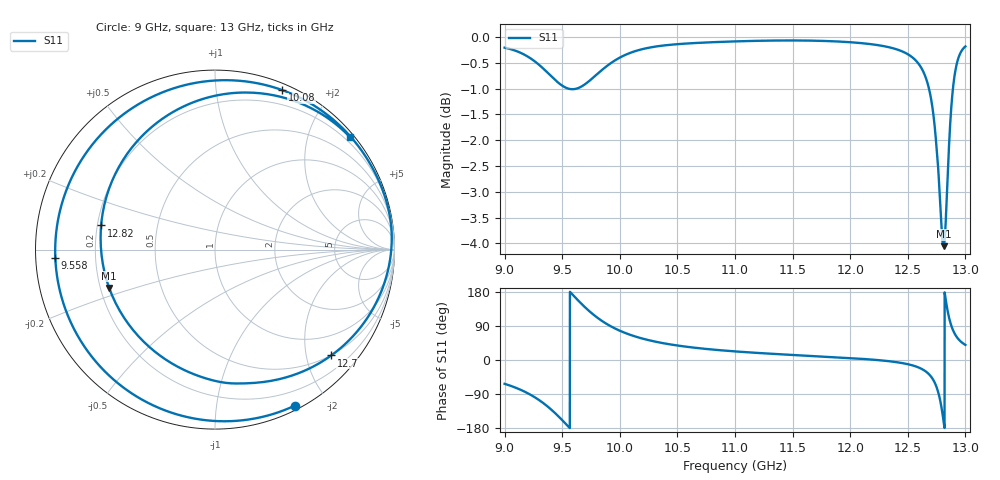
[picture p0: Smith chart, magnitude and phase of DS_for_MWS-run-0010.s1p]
! TOUCHSTONE file generated by CST DESIGN STUDIO
! Date and time: Tue Feb  4 12:44:50 2025
! Project name: C:\Work\MatlabApps\UnitCellOptimizationMatlab\CST\unitcell.cst
! Tree item: Tasks\Sweep1\SPara1\S-Parameters
! Header version: 2024
! Port assignment regex: !\s*Touchstone port\s*([0-9]+)\s*=\s*(CST MWS port|CST DES external port|CST DES block port)\s*(.+)\s* \(\"(.*)\"\)(\s*mode\s*([0-9]+))?.*
! Touchstone port assignment:
! Touchstone port 1 = CST DES external port 1 ("")
# GHz S MA R 50
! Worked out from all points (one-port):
!   4001 points, 9 GHz to 13 GHz, reference 50 ohm
!   lowest |S11| = -4.1 dB at 12.81 GHz (marker M1), VSWR 4.36, Z = 11.8 - j8.31 ohm
!   |S11| at or under -10 dB: nowhere
!   S11 on the Smith chart (normalised r, x): 9 GHz: 0.04, -1.64; 9.558 GHz: 0.06, -0.02; 10.08 GHz: 0.06, +1.51; 12.7 GHz: 0.49, -2.50; 12.82 GHz: 0.22, +0.10; 13 GHz: 0.09, +2.76
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9  0.9763 -62.8
9.147  0.9642 -79.7
9.297  0.9401 -105.2
9.399  0.9174 -129.3
9.5  0.8971 -158.7
9.558  0.8908 -177.2
9.649  0.8932 153.8
9.767  0.9129 120.7
9.87  0.9338 98.2
10  0.9549 77.2
10.084  0.9644 67.1
10.267  0.9769 51.2
10.5  0.9839 38.2
11  0.99 22.7
11.5  0.9921 13.3
12  0.9882 5.0
12.5  0.9622 -11.1
12.625  0.93 -24.3
12.698  0.8759 -42.3
12.734  0.8181 -59.9
12.767  0.7366 -88.3
12.788  0.6654 -117.3
12.81  0.6272 -160.1
12.825  0.6487 168.0
12.853  0.764 118.8
12.881  0.8645 87.7
12.932  0.9483 57.8
13  0.979 39.8
